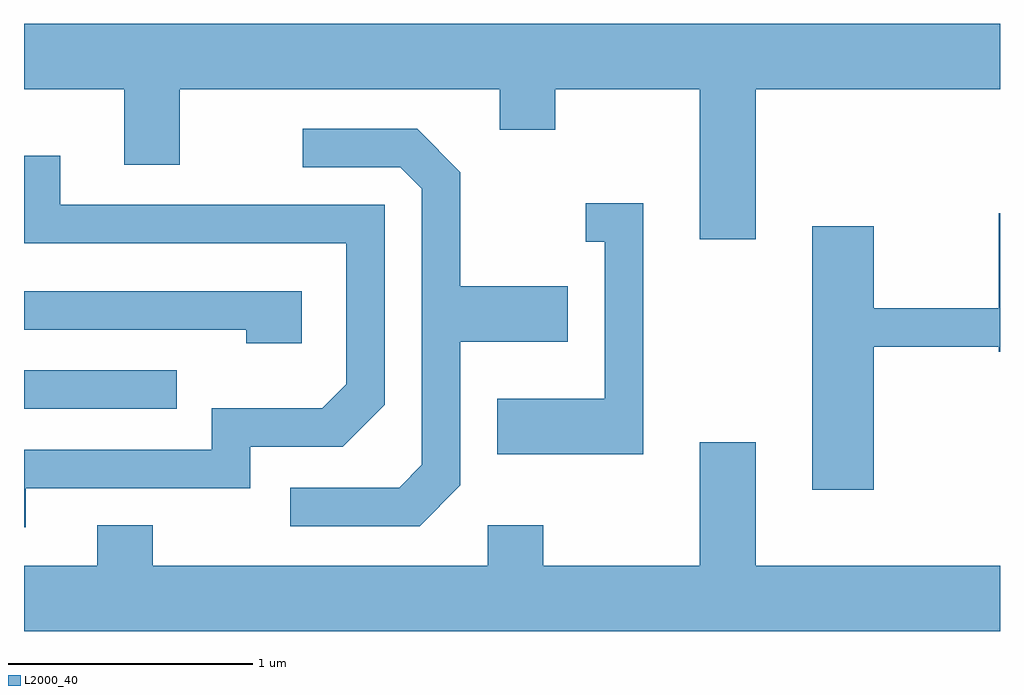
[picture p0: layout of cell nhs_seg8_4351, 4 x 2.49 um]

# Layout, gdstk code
import gdstk
lib = gdstk.Library(unit=1e-6, precision=1e-09)
def R(c, l, rs):  # rectangles x0, y0, x1, y1
    for r in rs: c.add(gdstk.rectangle(r[:2], r[2:], *l))
def P(c, l, *ps):  # polygons
    for p in ps: c.add(gdstk.Polygon(p, *l))
L2000_40 = (2000, 40)

nhs_seg8_4351 = lib.new_cell('nhs_seg8_4351')
R(nhs_seg8_4351, L2000_40, [(315.611,1863.966,316.238,1864.124)])
P(nhs_seg8_4351, L2000_40, [(318.609,1865.276),(319.611,1865.276),(319.611,1865.544),(315.611,1865.544),(315.611,1865.276),(316.021,1865.276),(316.021,1864.966),(316.249,1864.966),(316.249,1865.276),(317.561,1865.276),(317.561,1865.111),(317.789,1865.111),(317.789,1865.276),(318.381,1865.276),(318.381,1864.661),(318.609,1864.661)],
  [(317.399,1863.654),(317.399,1864.241),(317.839,1864.241),(317.839,1864.469),(317.399,1864.469),(317.399,1864.937),(317.222,1865.114),(316.753,1865.114),(316.753,1864.956),(317.154,1864.956),(317.241,1864.869),(317.241,1863.737),(317.149,1863.644),(316.703,1863.644),(316.703,1863.486),(317.232,1863.486)],
  [(315.619,1863.641),(316.539,1863.641),(316.539,1863.811),(316.917,1863.811),(317.089,1863.984),(317.089,1864.804),(315.759,1864.804),(315.759,1865.003),(315.611,1865.003),(315.611,1864.646),(316.931,1864.646),(316.931,1864.067),(316.834,1863.969),(316.381,1863.969),(316.381,1863.799),(315.611,1863.799),(315.611,1863.481),(315.619,1863.481)],
  [(318.149,1864.809),(317.913,1864.809),(317.913,1864.651),(317.991,1864.651),(317.991,1864.009),(317.551,1864.009),(317.551,1863.781),(318.149,1863.781)],
  [(319.094,1864.221),(319.606,1864.221),(319.606,1864.201),(319.611,1864.201),(319.611,1864.769),(319.606,1864.769),(319.606,1864.379),(319.094,1864.379),(319.094,1864.714),(318.841,1864.714),(318.841,1863.636),(319.094,1863.636)],
  [(316.749,1864.449),(315.611,1864.449),(315.611,1864.291),(316.521,1864.291),(316.521,1864.236),(316.749,1864.236)],
  [(319.611,1863.324),(318.609,1863.324),(318.609,1863.829),(318.381,1863.829),(318.381,1863.324),(317.739,1863.324),(317.739,1863.489),(317.511,1863.489),(317.511,1863.324),(316.139,1863.324),(316.139,1863.489),(315.911,1863.489),(315.911,1863.324),(315.611,1863.324),(315.611,1863.056),(319.611,1863.056)])

lib.write_gds('nhs_seg8_4351.gds')
